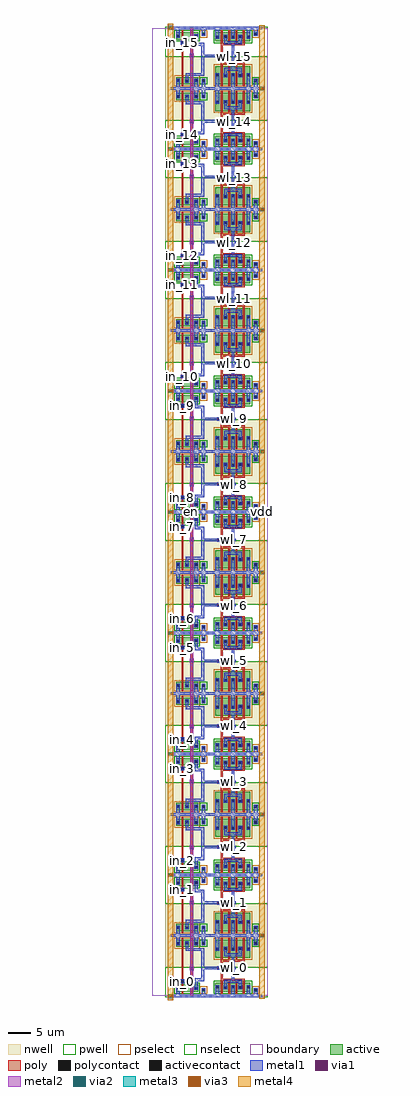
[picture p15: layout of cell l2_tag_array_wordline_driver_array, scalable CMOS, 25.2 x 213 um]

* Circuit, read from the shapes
.subckt l2_tag_array_wordline_driver_array en gnd in_0 in_1 in_10 in_11 in_12 in_13 in_14 in_15 in_2 in_3 in_4 in_5 in_6 in_7 in_8 in_9 vdd wl_0 wl_1 wl_10 wl_11 wl_12 wl_13 wl_14 wl_15 wl_2 wl_3 wl_4 wl_5 wl_6 wl_7 wl_8 wl_9
M1 l2_tag_array_wordline_driver_0/l2_tag_array_pnand2_0/l2_tag_array_nmos_m1_w1_600_sm1_dactive_2/D in_0 gnd gnd nfet w=1.6u l=0.4u
M2 l2_tag_array_wordline_driver_1/l2_tag_array_pnand2_0/l2_tag_array_nmos_m1_w1_600_sm1_dactive_2/D in_1 gnd gnd nfet w=1.6u l=0.4u
M3 l2_tag_array_wordline_driver_2/l2_tag_array_pnand2_0/l2_tag_array_nmos_m1_w1_600_sm1_dactive_2/D in_2 gnd gnd nfet w=1.6u l=0.4u
M4 l2_tag_array_wordline_driver_3/l2_tag_array_pnand2_0/l2_tag_array_nmos_m1_w1_600_sm1_dactive_2/D in_3 gnd gnd nfet w=1.6u l=0.4u
M5 l2_tag_array_wordline_driver_4/l2_tag_array_pnand2_0/l2_tag_array_nmos_m1_w1_600_sm1_dactive_2/D in_4 gnd gnd nfet w=1.6u l=0.4u
M6 l2_tag_array_wordline_driver_5/l2_tag_array_pnand2_0/l2_tag_array_nmos_m1_w1_600_sm1_dactive_2/D in_5 gnd gnd nfet w=1.6u l=0.4u
M7 l2_tag_array_wordline_driver_6/l2_tag_array_pnand2_0/l2_tag_array_nmos_m1_w1_600_sm1_dactive_2/D in_6 gnd gnd nfet w=1.6u l=0.4u
M8 l2_tag_array_wordline_driver_7/l2_tag_array_pnand2_0/l2_tag_array_nmos_m1_w1_600_sm1_dactive_2/D in_7 gnd gnd nfet w=1.6u l=0.4u
M9 l2_tag_array_wordline_driver_8/l2_tag_array_pnand2_0/l2_tag_array_nmos_m1_w1_600_sm1_dactive_2/D in_8 gnd gnd nfet w=1.6u l=0.4u
M10 l2_tag_array_wordline_driver_9/l2_tag_array_pnand2_0/l2_tag_array_nmos_m1_w1_600_sm1_dactive_2/D in_9 gnd gnd nfet w=1.6u l=0.4u
M11 l2_tag_array_wordline_driver_10/l2_tag_array_pnand2_0/l2_tag_array_nmos_m1_w1_600_sm1_dactive_2/D in_10 gnd gnd nfet w=1.6u l=0.4u
M12 l2_tag_array_wordline_driver_11/l2_tag_array_pnand2_0/l2_tag_array_nmos_m1_w1_600_sm1_dactive_2/D in_11 gnd gnd nfet w=1.6u l=0.4u
M13 l2_tag_array_wordline_driver_12/l2_tag_array_pnand2_0/l2_tag_array_nmos_m1_w1_600_sm1_dactive_2/D in_12 gnd gnd nfet w=1.6u l=0.4u
M14 l2_tag_array_wordline_driver_13/l2_tag_array_pnand2_0/l2_tag_array_nmos_m1_w1_600_sm1_dactive_2/D in_13 gnd gnd nfet w=1.6u l=0.4u
M15 l2_tag_array_wordline_driver_14/l2_tag_array_pnand2_0/l2_tag_array_nmos_m1_w1_600_sm1_dactive_2/D in_14 gnd gnd nfet w=1.6u l=0.4u
M16 l2_tag_array_wordline_driver_15/l2_tag_array_pnand2_0/l2_tag_array_nmos_m1_w1_600_sm1_dactive_2/D in_15 gnd gnd nfet w=1.6u l=0.4u
M17 l2_tag_array_wordline_driver_0/l2_tag_array_pinv_0_1/A en l2_tag_array_wordline_driver_0/l2_tag_array_pnand2_0/l2_tag_array_nmos_m1_w1_600_sm1_dactive_2/D gnd nfet w=1.6u l=0.4u
M18 l2_tag_array_wordline_driver_1/l2_tag_array_pinv_0_1/A en l2_tag_array_wordline_driver_1/l2_tag_array_pnand2_0/l2_tag_array_nmos_m1_w1_600_sm1_dactive_2/D gnd nfet w=1.6u l=0.4u
M19 l2_tag_array_wordline_driver_2/l2_tag_array_pinv_0_1/A en l2_tag_array_wordline_driver_2/l2_tag_array_pnand2_0/l2_tag_array_nmos_m1_w1_600_sm1_dactive_2/D gnd nfet w=1.6u l=0.4u
M20 l2_tag_array_wordline_driver_3/l2_tag_array_pinv_0_1/A en l2_tag_array_wordline_driver_3/l2_tag_array_pnand2_0/l2_tag_array_nmos_m1_w1_600_sm1_dactive_2/D gnd nfet w=1.6u l=0.4u
M21 l2_tag_array_wordline_driver_4/l2_tag_array_pinv_0_1/A en l2_tag_array_wordline_driver_4/l2_tag_array_pnand2_0/l2_tag_array_nmos_m1_w1_600_sm1_dactive_2/D gnd nfet w=1.6u l=0.4u
M22 l2_tag_array_wordline_driver_5/l2_tag_array_pinv_0_1/A en l2_tag_array_wordline_driver_5/l2_tag_array_pnand2_0/l2_tag_array_nmos_m1_w1_600_sm1_dactive_2/D gnd nfet w=1.6u l=0.4u
M23 l2_tag_array_wordline_driver_6/l2_tag_array_pinv_0_1/A en l2_tag_array_wordline_driver_6/l2_tag_array_pnand2_0/l2_tag_array_nmos_m1_w1_600_sm1_dactive_2/D gnd nfet w=1.6u l=0.4u
M24 l2_tag_array_wordline_driver_7/l2_tag_array_pinv_0_1/A en l2_tag_array_wordline_driver_7/l2_tag_array_pnand2_0/l2_tag_array_nmos_m1_w1_600_sm1_dactive_2/D gnd nfet w=1.6u l=0.4u
M25 l2_tag_array_wordline_driver_8/l2_tag_array_pinv_0_1/A en l2_tag_array_wordline_driver_8/l2_tag_array_pnand2_0/l2_tag_array_nmos_m1_w1_600_sm1_dactive_2/D gnd nfet w=1.6u l=0.4u
M26 l2_tag_array_wordline_driver_9/l2_tag_array_pinv_0_1/A en l2_tag_array_wordline_driver_9/l2_tag_array_pnand2_0/l2_tag_array_nmos_m1_w1_600_sm1_dactive_2/D gnd nfet w=1.6u l=0.4u
M27 l2_tag_array_wordline_driver_10/l2_tag_array_pinv_0_1/A en l2_tag_array_wordline_driver_10/l2_tag_array_pnand2_0/l2_tag_array_nmos_m1_w1_600_sm1_dactive_2/D gnd nfet w=1.6u l=0.4u
M28 l2_tag_array_wordline_driver_11/l2_tag_array_pinv_0_1/A en l2_tag_array_wordline_driver_11/l2_tag_array_pnand2_0/l2_tag_array_nmos_m1_w1_600_sm1_dactive_2/D gnd nfet w=1.6u l=0.4u
M29 l2_tag_array_wordline_driver_12/l2_tag_array_pinv_0_1/A en l2_tag_array_wordline_driver_12/l2_tag_array_pnand2_0/l2_tag_array_nmos_m1_w1_600_sm1_dactive_2/D gnd nfet w=1.6u l=0.4u
M30 l2_tag_array_wordline_driver_13/l2_tag_array_pinv_0_1/A en l2_tag_array_wordline_driver_13/l2_tag_array_pnand2_0/l2_tag_array_nmos_m1_w1_600_sm1_dactive_2/D gnd nfet w=1.6u l=0.4u
M31 l2_tag_array_wordline_driver_14/l2_tag_array_pinv_0_1/A en l2_tag_array_wordline_driver_14/l2_tag_array_pnand2_0/l2_tag_array_nmos_m1_w1_600_sm1_dactive_2/D gnd nfet w=1.6u l=0.4u
M32 l2_tag_array_wordline_driver_15/l2_tag_array_pinv_0_1/A en l2_tag_array_wordline_driver_15/l2_tag_array_pnand2_0/l2_tag_array_nmos_m1_w1_600_sm1_dactive_2/D gnd nfet w=1.6u l=0.4u
M33 wl_0 l2_tag_array_wordline_driver_0/l2_tag_array_pinv_0_1/A gnd gnd nfet w=2u l=0.4u m=4
M34 wl_1 l2_tag_array_wordline_driver_1/l2_tag_array_pinv_0_1/A gnd gnd nfet w=2u l=0.4u m=4
M35 wl_2 l2_tag_array_wordline_driver_2/l2_tag_array_pinv_0_1/A gnd gnd nfet w=2u l=0.4u m=4
M36 wl_3 l2_tag_array_wordline_driver_3/l2_tag_array_pinv_0_1/A gnd gnd nfet w=2u l=0.4u m=4
M37 wl_4 l2_tag_array_wordline_driver_4/l2_tag_array_pinv_0_1/A gnd gnd nfet w=2u l=0.4u m=4
M38 wl_5 l2_tag_array_wordline_driver_5/l2_tag_array_pinv_0_1/A gnd gnd nfet w=2u l=0.4u m=4
M39 wl_6 l2_tag_array_wordline_driver_6/l2_tag_array_pinv_0_1/A gnd gnd nfet w=2u l=0.4u m=4
M40 wl_7 l2_tag_array_wordline_driver_7/l2_tag_array_pinv_0_1/A gnd gnd nfet w=2u l=0.4u m=4
M41 wl_8 l2_tag_array_wordline_driver_8/l2_tag_array_pinv_0_1/A gnd gnd nfet w=2u l=0.4u m=4
M42 wl_9 l2_tag_array_wordline_driver_9/l2_tag_array_pinv_0_1/A gnd gnd nfet w=2u l=0.4u m=4
M43 wl_10 l2_tag_array_wordline_driver_10/l2_tag_array_pinv_0_1/A gnd gnd nfet w=2u l=0.4u m=4
M44 wl_11 l2_tag_array_wordline_driver_11/l2_tag_array_pinv_0_1/A gnd gnd nfet w=2u l=0.4u m=4
M45 wl_12 l2_tag_array_wordline_driver_12/l2_tag_array_pinv_0_1/A gnd gnd nfet w=2u l=0.4u m=4
M46 wl_13 l2_tag_array_wordline_driver_13/l2_tag_array_pinv_0_1/A gnd gnd nfet w=2u l=0.4u m=4
M47 wl_14 l2_tag_array_wordline_driver_14/l2_tag_array_pinv_0_1/A gnd gnd nfet w=2u l=0.4u m=4
M48 wl_15 l2_tag_array_wordline_driver_15/l2_tag_array_pinv_0_1/A gnd gnd nfet w=2u l=0.4u m=4
M49 l2_tag_array_wordline_driver_0/l2_tag_array_pinv_0_1/A in_0 vdd vdd pfet w=1.6u l=0.4u
M50 l2_tag_array_wordline_driver_1/l2_tag_array_pinv_0_1/A in_1 vdd vdd pfet w=1.6u l=0.4u
M51 l2_tag_array_wordline_driver_2/l2_tag_array_pinv_0_1/A in_2 vdd vdd pfet w=1.6u l=0.4u
M52 l2_tag_array_wordline_driver_3/l2_tag_array_pinv_0_1/A in_3 vdd vdd pfet w=1.6u l=0.4u
M53 l2_tag_array_wordline_driver_4/l2_tag_array_pinv_0_1/A in_4 vdd vdd pfet w=1.6u l=0.4u
M54 l2_tag_array_wordline_driver_5/l2_tag_array_pinv_0_1/A in_5 vdd vdd pfet w=1.6u l=0.4u
M55 l2_tag_array_wordline_driver_6/l2_tag_array_pinv_0_1/A in_6 vdd vdd pfet w=1.6u l=0.4u
M56 l2_tag_array_wordline_driver_7/l2_tag_array_pinv_0_1/A in_7 vdd vdd pfet w=1.6u l=0.4u
M57 l2_tag_array_wordline_driver_8/l2_tag_array_pinv_0_1/A in_8 vdd vdd pfet w=1.6u l=0.4u
M58 l2_tag_array_wordline_driver_9/l2_tag_array_pinv_0_1/A in_9 vdd vdd pfet w=1.6u l=0.4u
M59 l2_tag_array_wordline_driver_10/l2_tag_array_pinv_0_1/A in_10 vdd vdd pfet w=1.6u l=0.4u
M60 l2_tag_array_wordline_driver_11/l2_tag_array_pinv_0_1/A in_11 vdd vdd pfet w=1.6u l=0.4u
M61 l2_tag_array_wordline_driver_12/l2_tag_array_pinv_0_1/A in_12 vdd vdd pfet w=1.6u l=0.4u
M62 l2_tag_array_wordline_driver_13/l2_tag_array_pinv_0_1/A in_13 vdd vdd pfet w=1.6u l=0.4u
M63 l2_tag_array_wordline_driver_14/l2_tag_array_pinv_0_1/A in_14 vdd vdd pfet w=1.6u l=0.4u
M64 l2_tag_array_wordline_driver_15/l2_tag_array_pinv_0_1/A in_15 vdd vdd pfet w=1.6u l=0.4u
M65 vdd en l2_tag_array_wordline_driver_0/l2_tag_array_pinv_0_1/A vdd pfet w=1.6u l=0.4u
M66 vdd en l2_tag_array_wordline_driver_1/l2_tag_array_pinv_0_1/A vdd pfet w=1.6u l=0.4u
M67 vdd en l2_tag_array_wordline_driver_2/l2_tag_array_pinv_0_1/A vdd pfet w=1.6u l=0.4u
M68 vdd en l2_tag_array_wordline_driver_3/l2_tag_array_pinv_0_1/A vdd pfet w=1.6u l=0.4u
M69 vdd en l2_tag_array_wordline_driver_4/l2_tag_array_pinv_0_1/A vdd pfet w=1.6u l=0.4u
M70 vdd en l2_tag_array_wordline_driver_5/l2_tag_array_pinv_0_1/A vdd pfet w=1.6u l=0.4u
M71 vdd en l2_tag_array_wordline_driver_6/l2_tag_array_pinv_0_1/A vdd pfet w=1.6u l=0.4u
M72 vdd en l2_tag_array_wordline_driver_7/l2_tag_array_pinv_0_1/A vdd pfet w=1.6u l=0.4u
M73 vdd en l2_tag_array_wordline_driver_8/l2_tag_array_pinv_0_1/A vdd pfet w=1.6u l=0.4u
M74 vdd en l2_tag_array_wordline_driver_9/l2_tag_array_pinv_0_1/A vdd pfet w=1.6u l=0.4u
M75 vdd en l2_tag_array_wordline_driver_10/l2_tag_array_pinv_0_1/A vdd pfet w=1.6u l=0.4u
M76 vdd en l2_tag_array_wordline_driver_11/l2_tag_array_pinv_0_1/A vdd pfet w=1.6u l=0.4u
M77 vdd en l2_tag_array_wordline_driver_12/l2_tag_array_pinv_0_1/A vdd pfet w=1.6u l=0.4u
M78 vdd en l2_tag_array_wordline_driver_13/l2_tag_array_pinv_0_1/A vdd pfet w=1.6u l=0.4u
M79 vdd en l2_tag_array_wordline_driver_14/l2_tag_array_pinv_0_1/A vdd pfet w=1.6u l=0.4u
M80 vdd en l2_tag_array_wordline_driver_15/l2_tag_array_pinv_0_1/A vdd pfet w=1.6u l=0.4u
M81 wl_0 l2_tag_array_wordline_driver_0/l2_tag_array_pinv_0_1/A vdd vdd pfet w=4u l=0.4u m=4
M82 wl_1 l2_tag_array_wordline_driver_1/l2_tag_array_pinv_0_1/A vdd vdd pfet w=4u l=0.4u m=4
M83 wl_2 l2_tag_array_wordline_driver_2/l2_tag_array_pinv_0_1/A vdd vdd pfet w=4u l=0.4u m=4
M84 wl_3 l2_tag_array_wordline_driver_3/l2_tag_array_pinv_0_1/A vdd vdd pfet w=4u l=0.4u m=4
M85 wl_4 l2_tag_array_wordline_driver_4/l2_tag_array_pinv_0_1/A vdd vdd pfet w=4u l=0.4u m=4
M86 wl_5 l2_tag_array_wordline_driver_5/l2_tag_array_pinv_0_1/A vdd vdd pfet w=4u l=0.4u m=4
M87 wl_6 l2_tag_array_wordline_driver_6/l2_tag_array_pinv_0_1/A vdd vdd pfet w=4u l=0.4u m=4
M88 wl_7 l2_tag_array_wordline_driver_7/l2_tag_array_pinv_0_1/A vdd vdd pfet w=4u l=0.4u m=4
M89 wl_8 l2_tag_array_wordline_driver_8/l2_tag_array_pinv_0_1/A vdd vdd pfet w=4u l=0.4u m=4
M90 wl_9 l2_tag_array_wordline_driver_9/l2_tag_array_pinv_0_1/A vdd vdd pfet w=4u l=0.4u m=4
M91 wl_10 l2_tag_array_wordline_driver_10/l2_tag_array_pinv_0_1/A vdd vdd pfet w=4u l=0.4u m=4
M92 wl_11 l2_tag_array_wordline_driver_11/l2_tag_array_pinv_0_1/A vdd vdd pfet w=4u l=0.4u m=4
M93 wl_12 l2_tag_array_wordline_driver_12/l2_tag_array_pinv_0_1/A vdd vdd pfet w=4u l=0.4u m=4
M94 wl_13 l2_tag_array_wordline_driver_13/l2_tag_array_pinv_0_1/A vdd vdd pfet w=4u l=0.4u m=4
M95 wl_14 l2_tag_array_wordline_driver_14/l2_tag_array_pinv_0_1/A vdd vdd pfet w=4u l=0.4u m=4
M96 wl_15 l2_tag_array_wordline_driver_15/l2_tag_array_pinv_0_1/A vdd vdd pfet w=4u l=0.4u m=4
.ends

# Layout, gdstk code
import gdstk
lib = gdstk.Library(unit=1e-6, precision=1e-09)
def R(c, l, rs):  # rectangles x0, y0, x1, y1
    for r in rs: c.add(gdstk.rectangle(r[:2], r[2:], *l))
def A(c, l, x, y, w, h, nx, ny, dx, dy):  # array of equal rectangles
    R(c, l, [(x+i*dx, y+j*dy, x+i*dx+w, y+j*dy+h) for i in range(nx) for j in range(ny)])
via3 = (30, 0)
metal4 = (31, 0)
pwell = (41, 0)
nwell = (42, 0)
active = (43, 0)
pselect = (44, 0)
nselect = (45, 0)
poly = (46, 0)
polycontact = (47, 0)
activecontact = (48, 0)
metal1 = (49, 0)
via1 = (50, 0)
metal2 = (51, 0)
via2 = (61, 0)
metal3 = (62, 0)
boundary = (63, 0)

l2_tag_array_contact_11 = lib.new_cell('l2_tag_array_contact_11')
R(l2_tag_array_contact_11, nwell, [(-1.2,-1.2,2,2)])
R(l2_tag_array_contact_11, active, [(0,0,0.8,0.8)])
R(l2_tag_array_contact_11, pselect, [(-0.4,-0.4,1.2,1.2)])
R(l2_tag_array_contact_11, activecontact, [(0.2,0.2,0.6,0.6)])
R(l2_tag_array_contact_11, metal1, [(0,0,0.8,0.8)])
R(l2_tag_array_contact_11, boundary, [(-1.2,-1.2,2,2)])

l2_tag_array_pmos_m1_w1_ = lib.new_cell('l2_tag_array_pmos_m1_w1_600_sm1_dm1')
R(l2_tag_array_pmos_m1_w1_, nwell, [(-1.2,-1.2,4,2.8)])
R(l2_tag_array_pmos_m1_w1_, active, [(0,0,2.8,1.6)])
R(l2_tag_array_pmos_m1_w1_, pselect, [(-0.4,-0.4,3.2,2)])
R(l2_tag_array_pmos_m1_w1_, poly, [(1.2,-0.4,1.6,2), (1.2,-0.4,1.6,2)])
R(l2_tag_array_pmos_m1_w1_, metal1, [(0,0.4,0.8,1.2), (2,0.4,2.8,1.2)])
R(l2_tag_array_pmos_m1_w1_, boundary, [(-1.2,-1.2,4,2.8)])
l2_tag_array_pmos_m1_w1_.add(gdstk.Reference(l2_tag_array_contact_11, (0,0.4)))
l2_tag_array_pmos_m1_w1_.add(gdstk.Reference(l2_tag_array_contact_11, (2,0.4)))
l2_tag_array_pmos_m1_w1_.add(gdstk.Label('G', (1.4,0.8), layer=46, texttype=0))
l2_tag_array_pmos_m1_w1_.add(gdstk.Label('S', (0.4,0.8), layer=49, texttype=0))
l2_tag_array_pmos_m1_w1_.add(gdstk.Label('D', (2.4,0.8), layer=49, texttype=0))

l2_tag_array_contact_10 = lib.new_cell('l2_tag_array_contact_10')
R(l2_tag_array_contact_10, pwell, [(-1.2,-1.2,2,2)])
R(l2_tag_array_contact_10, active, [(0,0,0.8,0.8)])
R(l2_tag_array_contact_10, nselect, [(-0.4,-0.4,1.2,1.2)])
R(l2_tag_array_contact_10, activecontact, [(0.2,0.2,0.6,0.6)])
R(l2_tag_array_contact_10, metal1, [(0,0,0.8,0.8)])
R(l2_tag_array_contact_10, boundary, [(-1.2,-1.2,2,2)])

l2_tag_array_nmos_m1_w1_ = lib.new_cell('l2_tag_array_nmos_m1_w1_600_sm1_dactive')
R(l2_tag_array_nmos_m1_w1_, pwell, [(-1.2,-1.2,4,2.8)])
R(l2_tag_array_nmos_m1_w1_, active, [(0,0,2.8,1.6), (2.1,0.5,2.7,1.1)])
R(l2_tag_array_nmos_m1_w1_, nselect, [(-0.4,-0.4,3.2,2)])
R(l2_tag_array_nmos_m1_w1_, poly, [(1.2,-0.4,1.6,2), (1.2,-0.4,1.6,2)])
R(l2_tag_array_nmos_m1_w1_, metal1, [(0,0.4,0.8,1.2)])
R(l2_tag_array_nmos_m1_w1_, boundary, [(-1.2,-1.2,4,2.8)])
l2_tag_array_nmos_m1_w1_.add(gdstk.Reference(l2_tag_array_contact_10, (0,0.4)))
l2_tag_array_nmos_m1_w1_.add(gdstk.Label('G', (1.4,0.8), layer=46, texttype=0))
l2_tag_array_nmos_m1_w1_.add(gdstk.Label('S', (0.4,0.8), layer=49, texttype=0))
l2_tag_array_nmos_m1_w1_.add(gdstk.Label('D', (2.4,0.8), layer=43, texttype=0))

c_l2_tag_array_nmos_m1_w1_ = lib.new_cell('l2_tag_array_nmos_m1_w1_600_sactive_dm1')
R(c_l2_tag_array_nmos_m1_w1_, pwell, [(-1.2,-1.2,4,2.8)])
R(c_l2_tag_array_nmos_m1_w1_, active, [(0,0,2.8,1.6), (0.1,0.5,0.7,1.1)])
R(c_l2_tag_array_nmos_m1_w1_, nselect, [(-0.4,-0.4,3.2,2)])
R(c_l2_tag_array_nmos_m1_w1_, poly, [(1.2,-0.4,1.6,2), (1.2,-0.4,1.6,2)])
R(c_l2_tag_array_nmos_m1_w1_, metal1, [(2,0.4,2.8,1.2)])
R(c_l2_tag_array_nmos_m1_w1_, boundary, [(-1.2,-1.2,4,2.8)])
c_l2_tag_array_nmos_m1_w1_.add(gdstk.Reference(l2_tag_array_contact_10, (2,0.4)))
c_l2_tag_array_nmos_m1_w1_.add(gdstk.Label('G', (1.4,0.8), layer=46, texttype=0))
c_l2_tag_array_nmos_m1_w1_.add(gdstk.Label('S', (0.4,0.8), layer=43, texttype=0))
c_l2_tag_array_nmos_m1_w1_.add(gdstk.Label('D', (2.4,0.8), layer=49, texttype=0))

l2_tag_array_contact_12 = lib.new_cell('l2_tag_array_contact_12')
R(l2_tag_array_contact_12, nwell, [(-1.2,-1.2,2,2)])
R(l2_tag_array_contact_12, active, [(0,0,0.8,0.8)])
R(l2_tag_array_contact_12, nselect, [(-0.4,-0.4,1.2,1.2)])
R(l2_tag_array_contact_12, activecontact, [(0.2,0.2,0.6,0.6)])
R(l2_tag_array_contact_12, metal1, [(0,0,0.8,0.8)])
R(l2_tag_array_contact_12, boundary, [(-1.2,-1.2,2,2)])

l2_tag_array_contact_13 = lib.new_cell('l2_tag_array_contact_13')
R(l2_tag_array_contact_13, pwell, [(-1.2,-1.2,2,2)])
R(l2_tag_array_contact_13, active, [(0,0,0.8,0.8)])
R(l2_tag_array_contact_13, pselect, [(-0.4,-0.4,1.2,1.2)])
R(l2_tag_array_contact_13, activecontact, [(0.2,0.2,0.6,0.6)])
R(l2_tag_array_contact_13, metal1, [(0,0,0.8,0.8)])
R(l2_tag_array_contact_13, boundary, [(-1.2,-1.2,2,2)])

l2_tag_array_contact_14 = lib.new_cell('l2_tag_array_contact_14')
R(l2_tag_array_contact_14, poly, [(0,0,0.8,0.8)])
R(l2_tag_array_contact_14, polycontact, [(0.2,0.2,0.6,0.6)])
R(l2_tag_array_contact_14, metal1, [(0,0,0.8,0.8)])
R(l2_tag_array_contact_14, boundary, [(0,0,0.8,0.8)])

l2_tag_array_pnand2 = lib.new_cell('l2_tag_array_pnand2')
R(l2_tag_array_pnand2, pwell, [(-1.2,-0.3,9.8,6.3)])
R(l2_tag_array_pnand2, nwell, [(-1.2,6.3,9.8,14.7)])
R(l2_tag_array_pnand2, poly, [(2.4,2.8,2.6,3.6), (2.4,2.9,2.8,10.3), (4.4,2.9,4.8,10.3), (4.4,5.6,4.6,6.4)])
R(l2_tag_array_pnand2, metal1, [(0,-0.3,8.6,0.3), (1.2,-0.3,2,1.3), (6.8,0,7.6,1.3), (5.3,2.1,5.9,3.5), (2.2,2.8,3,3.6), (5.3,3.2,5.9,3.8), (5.6,3.2,7,3.8), (6.7,3.2,7.3,3.8), (6.7,3.5,7.3,10.1), (4.2,5.6,5,6.4), (3.3,9.8,3.9,10.4), (3.6,9.8,7,10.4), (6.7,9.8,7.3,10.4), (3.3,10.1,3.9,11.1), (1.2,11.1,2,13.5), (5.2,11.1,6,13.5), (6.8,11.5,7.6,13.2), (0,12.9,8.6,13.5)])
R(l2_tag_array_pnand2, boundary, [(0,0,8.6,13.2), (0,0,8.6,13.2)])
l2_tag_array_pnand2.add(gdstk.Reference(l2_tag_array_pmos_m1_w1_, (1.2,10.7)))
l2_tag_array_pnand2.add(gdstk.Reference(l2_tag_array_pmos_m1_w1_, (3.2,10.7)))
l2_tag_array_pnand2.add(gdstk.Reference(l2_tag_array_nmos_m1_w1_, (1.2,0.9)))
l2_tag_array_pnand2.add(gdstk.Reference(c_l2_tag_array_nmos_m1_w1_, (3.2,0.9)))
l2_tag_array_pnand2.add(gdstk.Reference(l2_tag_array_contact_12, (6.8,11.1)))
l2_tag_array_pnand2.add(gdstk.Reference(l2_tag_array_contact_13, (6.8,0.9)))
l2_tag_array_pnand2.add(gdstk.Reference(l2_tag_array_contact_14, (2.2,2.8)))
l2_tag_array_pnand2.add(gdstk.Reference(l2_tag_array_contact_14, (4.2,5.6)))
l2_tag_array_pnand2.add(gdstk.Label('Z', (7,10.1), layer=49, texttype=0))
l2_tag_array_pnand2.add(gdstk.Label('gnd', (4.3,0), layer=49, texttype=0))
l2_tag_array_pnand2.add(gdstk.Label('vdd', (4.3,13.2), layer=49, texttype=0))
l2_tag_array_pnand2.add(gdstk.Label('A', (2.6,3.2), layer=49, texttype=0))
l2_tag_array_pnand2.add(gdstk.Label('B', (4.6,6), layer=49, texttype=0))

l2_tag_array_pmos_m4_w4_ = lib.new_cell('l2_tag_array_pmos_m4_w4_000_sm1_dm1_da_p')
R(l2_tag_array_pmos_m4_w4_, nwell, [(-1.2,-1.2,8.8,5.2)])
R(l2_tag_array_pmos_m4_w4_, active, [(0,0,7.6,4)])
R(l2_tag_array_pmos_m4_w4_, pselect, [(-0.4,-0.4,8,4.4)])
A(l2_tag_array_pmos_m4_w4_, poly, 1.2, -0.4, 0.4, 4.8, 4, 1, 1.6, 0)
R(l2_tag_array_pmos_m4_w4_, poly, [(1.2,-0.8,6.4,-0.4)])
A(l2_tag_array_pmos_m4_w4_, metal1, 0, 1.6, 0.8, 0.8, 3, 1, 3.4, 0)
R(l2_tag_array_pmos_m4_w4_, metal1, [(1.9,0.4,5.7,1), (1.9,0.7,2.5,2), (5.1,0.7,5.7,2)])
R(l2_tag_array_pmos_m4_w4_, boundary, [(-1.2,-1.2,8.8,5.2)])
l2_tag_array_pmos_m4_w4_.add(gdstk.Reference(l2_tag_array_contact_11, (0,1.6)))
l2_tag_array_pmos_m4_w4_.add(gdstk.Reference(l2_tag_array_contact_11, (1.8,1.6)))
l2_tag_array_pmos_m4_w4_.add(gdstk.Reference(l2_tag_array_contact_11, (3.4,1.6)))
l2_tag_array_pmos_m4_w4_.add(gdstk.Reference(l2_tag_array_contact_11, (5,1.6)))
l2_tag_array_pmos_m4_w4_.add(gdstk.Reference(l2_tag_array_contact_11, (6.8,1.6)))
l2_tag_array_pmos_m4_w4_.add(gdstk.Label('G', (3.8,-0.6), layer=46, texttype=0))
l2_tag_array_pmos_m4_w4_.add(gdstk.Label('S', (0.4,2), layer=49, texttype=0))
l2_tag_array_pmos_m4_w4_.add(gdstk.Label('S', (7.2,2), layer=49, texttype=0))
l2_tag_array_pmos_m4_w4_.add(gdstk.Label('S', (3.8,2), layer=49, texttype=0))
l2_tag_array_pmos_m4_w4_.add(gdstk.Label('D', (3.8,0.7), layer=49, texttype=0))

l2_tag_array_nmos_m4_w2_ = lib.new_cell('l2_tag_array_nmos_m4_w2_000_sm1_dm1_da_p')
R(l2_tag_array_nmos_m4_w2_, pwell, [(-1.2,-1.2,8.8,3.2)])
R(l2_tag_array_nmos_m4_w2_, active, [(0,0,7.6,2)])
R(l2_tag_array_nmos_m4_w2_, nselect, [(-0.4,-0.4,8,2.4)])
A(l2_tag_array_nmos_m4_w2_, poly, 1.2, -0.4, 0.4, 2.8, 4, 1, 1.6, 0)
R(l2_tag_array_nmos_m4_w2_, poly, [(1.2,2.4,6.4,2.8)])
A(l2_tag_array_nmos_m4_w2_, metal1, 0, 0.6, 0.8, 0.8, 3, 1, 3.4, 0)
R(l2_tag_array_nmos_m4_w2_, metal1, [(1.9,1,2.5,2.3), (5.1,1,5.7,2.3), (1.9,2,5.7,2.6)])
R(l2_tag_array_nmos_m4_w2_, boundary, [(-1.2,-1.2,8.8,3.2)])
l2_tag_array_nmos_m4_w2_.add(gdstk.Reference(l2_tag_array_contact_10, (0,0.6)))
l2_tag_array_nmos_m4_w2_.add(gdstk.Reference(l2_tag_array_contact_10, (1.8,0.6)))
l2_tag_array_nmos_m4_w2_.add(gdstk.Reference(l2_tag_array_contact_10, (3.4,0.6)))
l2_tag_array_nmos_m4_w2_.add(gdstk.Reference(l2_tag_array_contact_10, (5,0.6)))
l2_tag_array_nmos_m4_w2_.add(gdstk.Reference(l2_tag_array_contact_10, (6.8,0.6)))
l2_tag_array_nmos_m4_w2_.add(gdstk.Label('G', (3.8,2.6), layer=46, texttype=0))
l2_tag_array_nmos_m4_w2_.add(gdstk.Label('S', (3.8,1), layer=49, texttype=0))
l2_tag_array_nmos_m4_w2_.add(gdstk.Label('S', (0.4,1), layer=49, texttype=0))
l2_tag_array_nmos_m4_w2_.add(gdstk.Label('S', (7.2,1), layer=49, texttype=0))
l2_tag_array_nmos_m4_w2_.add(gdstk.Label('D', (3.8,2.3), layer=49, texttype=0))

l2_tag_array_pinv_0 = lib.new_cell('l2_tag_array_pinv_0')
R(l2_tag_array_pinv_0, pwell, [(-1.2,-0.3,12.6,6.3)])
R(l2_tag_array_pinv_0, nwell, [(-1.2,6.3,12.6,14.7)])
R(l2_tag_array_pinv_0, poly, [(2.4,3.7,2.8,7.5), (2,5.7,2.4,6.5)])
A(l2_tag_array_pinv_0, metal1, 1.2, -0.3, 0.8, 1.8, 3, 1, 3.4, 0)
A(l2_tag_array_pinv_0, metal1, 1.2, 9.9, 0.8, 3.6, 3, 1, 3.4, 0)
R(l2_tag_array_pinv_0, metal1, [(0,-0.3,11.4,0.3), (9.6,0,10.4,1.3), (4.7,2.9,5.3,9.3), (1.6,5.7,2.4,6.5), (5,5.8,5.6,6.4), (9.6,11.5,10.4,13.2), (0,12.9,11.4,13.5)])
R(l2_tag_array_pinv_0, boundary, [(0,0,11.4,13.2), (0,0,11.4,13.2)])
l2_tag_array_pinv_0.add(gdstk.Reference(l2_tag_array_pmos_m4_w4_, (1.2,8.3)))
l2_tag_array_pinv_0.add(gdstk.Reference(l2_tag_array_nmos_m4_w2_, (1.2,0.9)))
l2_tag_array_pinv_0.add(gdstk.Reference(l2_tag_array_contact_12, (9.6,11.1)))
l2_tag_array_pinv_0.add(gdstk.Reference(l2_tag_array_contact_13, (9.6,0.9)))
l2_tag_array_pinv_0.add(gdstk.Reference(l2_tag_array_contact_14, (1.6,5.7)))
l2_tag_array_pinv_0.add(gdstk.Label('A', (2,6.1), layer=49, texttype=0))
l2_tag_array_pinv_0.add(gdstk.Label('Z', (5.3,6.1), layer=49, texttype=0))
l2_tag_array_pinv_0.add(gdstk.Label('gnd', (5.7,0), layer=49, texttype=0))
l2_tag_array_pinv_0.add(gdstk.Label('vdd', (5.7,13.2), layer=49, texttype=0))

l2_tag_array_wordline_dr = lib.new_cell('l2_tag_array_wordline_driver')
R(l2_tag_array_wordline_dr, metal1, [(0,-0.3,20,0.3), (2.2,2.8,3,3.6), (4.2,5.6,5,6.4), (6.7,5.8,7.3,6.4), (7,5.8,10.6,6.4), (13.6,5.8,14.2,6.4), (6.7,6.1,7.3,10.1), (0,12.9,20,13.5)])
R(l2_tag_array_wordline_dr, boundary, [(0,0,20,13.2)])
l2_tag_array_wordline_dr.add(gdstk.Reference(l2_tag_array_pnand2, (0,0)))
l2_tag_array_wordline_dr.add(gdstk.Reference(l2_tag_array_pinv_0, (8.6,0)))
l2_tag_array_wordline_dr.add(gdstk.Label('Z', (13.9,6.1), layer=49, texttype=0))
l2_tag_array_wordline_dr.add(gdstk.Label('A', (2.6,3.2), layer=49, texttype=0))
l2_tag_array_wordline_dr.add(gdstk.Label('B', (4.6,6), layer=49, texttype=0))
l2_tag_array_wordline_dr.add(gdstk.Label('gnd', (10,0), layer=49, texttype=0))
l2_tag_array_wordline_dr.add(gdstk.Label('vdd', (10,13.2), layer=49, texttype=0))

l2_tag_array_contact_17 = lib.new_cell('l2_tag_array_contact_17')
R(l2_tag_array_contact_17, metal1, [(0,0,0.8,0.8)])
R(l2_tag_array_contact_17, via1, [(0.2,0.2,0.6,0.6)])
R(l2_tag_array_contact_17, metal2, [(0,0,0.8,0.8)])
R(l2_tag_array_contact_17, boundary, [(0,0,0.8,0.8)])

l2_tag_array_contact_18 = lib.new_cell('l2_tag_array_contact_18')
R(l2_tag_array_contact_18, metal2, [(0,0,0.8,0.8)])
R(l2_tag_array_contact_18, via2, [(0.2,0.2,0.6,0.6)])
R(l2_tag_array_contact_18, metal3, [(0,0,0.8,0.8)])
R(l2_tag_array_contact_18, boundary, [(0,0,0.8,0.8)])

l2_tag_array_contact_21 = lib.new_cell('l2_tag_array_contact_21')
R(l2_tag_array_contact_21, via3, [(0.4,0.4,0.8,0.8)])
R(l2_tag_array_contact_21, metal4, [(0,0,1.2,1.2)])
R(l2_tag_array_contact_21, metal3, [(0.2,0.2,1,1)])
R(l2_tag_array_contact_21, boundary, [(0,0,1.2,1.2)])

c_l2_tag_array_wordline_dr = lib.new_cell('l2_tag_array_wordline_driver_array')
R(c_l2_tag_array_wordline_dr, metal4, [(3.4,-0.9,4.6,212.1), (23.4,-0.6,24.6,211.8)])
R(c_l2_tag_array_wordline_dr, metal1, [(6.2,2.8,7,3.6), (17.6,5.8,18.2,6.4), (17.6,20,18.2,20.6), (6.2,22.8,7,23.6), (6.2,29.2,7,30), (17.6,32.2,18.2,32.8), (17.6,46.4,18.2,47), (6.2,49.2,7,50), (6.2,55.6,7,56.4), (17.6,58.6,18.2,59.2), (17.6,72.8,18.2,73.4), (6.2,75.6,7,76.4), (6.2,82,7,82.8), (17.6,85,18.2,85.6), (17.6,99.2,18.2,99.8), (6.2,102,7,102.8), (6.2,108.4,7,109.2), (17.6,111.4,18.2,112), (17.6,125.6,18.2,126.2), (6.2,128.4,7,129.2), (6.2,134.8,7,135.6), (17.6,137.8,18.2,138.4), (17.6,152,18.2,152.6), (6.2,154.8,7,155.6), (6.2,161.2,7,162), (17.6,164.2,18.2,164.8), (17.6,178.4,18.2,179), (6.2,181.2,7,182), (6.2,187.6,7,188.4), (17.6,190.6,18.2,191.2), (17.6,204.8,18.2,205.4), (6.2,207.6,7,208.4)])
R(c_l2_tag_array_wordline_dr, metal2, [(8.3,0,8.9,211.2)])
R(c_l2_tag_array_wordline_dr, boundary, [(0,0,25.2,211.2)])
c_l2_tag_array_wordline_dr.add(gdstk.Reference(l2_tag_array_wordline_dr, (4,0)))
c_l2_tag_array_wordline_dr.add(gdstk.Reference(l2_tag_array_wordline_dr, (4,26.4), x_reflection=True))
c_l2_tag_array_wordline_dr.add(gdstk.Reference(l2_tag_array_wordline_dr, (4,26.4)))
c_l2_tag_array_wordline_dr.add(gdstk.Reference(l2_tag_array_wordline_dr, (4,52.8), x_reflection=True))
c_l2_tag_array_wordline_dr.add(gdstk.Reference(l2_tag_array_wordline_dr, (4,52.8)))
c_l2_tag_array_wordline_dr.add(gdstk.Reference(l2_tag_array_wordline_dr, (4,79.2), x_reflection=True))
c_l2_tag_array_wordline_dr.add(gdstk.Reference(l2_tag_array_wordline_dr, (4,79.2)))
c_l2_tag_array_wordline_dr.add(gdstk.Reference(l2_tag_array_wordline_dr, (4,105.6), x_reflection=True))
c_l2_tag_array_wordline_dr.add(gdstk.Reference(l2_tag_array_wordline_dr, (4,105.6)))
c_l2_tag_array_wordline_dr.add(gdstk.Reference(l2_tag_array_wordline_dr, (4,132), x_reflection=True))
c_l2_tag_array_wordline_dr.add(gdstk.Reference(l2_tag_array_wordline_dr, (4,132)))
c_l2_tag_array_wordline_dr.add(gdstk.Reference(l2_tag_array_wordline_dr, (4,158.4), x_reflection=True))
c_l2_tag_array_wordline_dr.add(gdstk.Reference(l2_tag_array_wordline_dr, (4,158.4)))
c_l2_tag_array_wordline_dr.add(gdstk.Reference(l2_tag_array_wordline_dr, (4,184.8), x_reflection=True))
c_l2_tag_array_wordline_dr.add(gdstk.Reference(l2_tag_array_wordline_dr, (4,184.8)))
c_l2_tag_array_wordline_dr.add(gdstk.Reference(l2_tag_array_wordline_dr, (4,211.2), x_reflection=True))
c_l2_tag_array_wordline_dr.add(gdstk.Reference(l2_tag_array_contact_17, (8.2,5.6)))
c_l2_tag_array_wordline_dr.add(gdstk.Reference(l2_tag_array_contact_17, (8.2,20)))
c_l2_tag_array_wordline_dr.add(gdstk.Reference(l2_tag_array_contact_17, (8.2,32)))
c_l2_tag_array_wordline_dr.add(gdstk.Reference(l2_tag_array_contact_17, (8.2,46.4)))
c_l2_tag_array_wordline_dr.add(gdstk.Reference(l2_tag_array_contact_17, (8.2,58.4)))
c_l2_tag_array_wordline_dr.add(gdstk.Reference(l2_tag_array_contact_17, (8.2,72.8)))
c_l2_tag_array_wordline_dr.add(gdstk.Reference(l2_tag_array_contact_17, (8.2,84.8)))
c_l2_tag_array_wordline_dr.add(gdstk.Reference(l2_tag_array_contact_17, (8.2,99.2)))
c_l2_tag_array_wordline_dr.add(gdstk.Reference(l2_tag_array_contact_17, (8.2,111.2)))
c_l2_tag_array_wordline_dr.add(gdstk.Reference(l2_tag_array_contact_17, (8.2,125.6)))
c_l2_tag_array_wordline_dr.add(gdstk.Reference(l2_tag_array_contact_17, (8.2,137.6)))
c_l2_tag_array_wordline_dr.add(gdstk.Reference(l2_tag_array_contact_17, (8.2,152)))
c_l2_tag_array_wordline_dr.add(gdstk.Reference(l2_tag_array_contact_17, (8.2,164)))
c_l2_tag_array_wordline_dr.add(gdstk.Reference(l2_tag_array_contact_17, (8.2,178.4)))
c_l2_tag_array_wordline_dr.add(gdstk.Reference(l2_tag_array_contact_17, (8.2,190.4)))
c_l2_tag_array_wordline_dr.add(gdstk.Reference(l2_tag_array_contact_17, (8.2,204.8)))
c_l2_tag_array_wordline_dr.add(gdstk.Reference(l2_tag_array_contact_17, (23.6,12.8)))
c_l2_tag_array_wordline_dr.add(gdstk.Reference(l2_tag_array_contact_18, (23.6,12.8)))
c_l2_tag_array_wordline_dr.add(gdstk.Reference(l2_tag_array_contact_21, (23.4,12.6)))
c_l2_tag_array_wordline_dr.add(gdstk.Reference(l2_tag_array_contact_17, (23.6,12.8)))
c_l2_tag_array_wordline_dr.add(gdstk.Reference(l2_tag_array_contact_18, (23.6,12.8)))
c_l2_tag_array_wordline_dr.add(gdstk.Reference(l2_tag_array_contact_21, (23.4,12.6)))
c_l2_tag_array_wordline_dr.add(gdstk.Reference(l2_tag_array_contact_17, (23.6,39.2)))
c_l2_tag_array_wordline_dr.add(gdstk.Reference(l2_tag_array_contact_18, (23.6,39.2)))
c_l2_tag_array_wordline_dr.add(gdstk.Reference(l2_tag_array_contact_21, (23.4,39)))
c_l2_tag_array_wordline_dr.add(gdstk.Reference(l2_tag_array_contact_17, (23.6,39.2)))
c_l2_tag_array_wordline_dr.add(gdstk.Reference(l2_tag_array_contact_18, (23.6,39.2)))
c_l2_tag_array_wordline_dr.add(gdstk.Reference(l2_tag_array_contact_21, (23.4,39)))
c_l2_tag_array_wordline_dr.add(gdstk.Reference(l2_tag_array_contact_17, (23.6,65.6)))
c_l2_tag_array_wordline_dr.add(gdstk.Reference(l2_tag_array_contact_18, (23.6,65.6)))
c_l2_tag_array_wordline_dr.add(gdstk.Reference(l2_tag_array_contact_21, (23.4,65.4)))
c_l2_tag_array_wordline_dr.add(gdstk.Reference(l2_tag_array_contact_17, (23.6,65.6)))
c_l2_tag_array_wordline_dr.add(gdstk.Reference(l2_tag_array_contact_18, (23.6,65.6)))
c_l2_tag_array_wordline_dr.add(gdstk.Reference(l2_tag_array_contact_21, (23.4,65.4)))
c_l2_tag_array_wordline_dr.add(gdstk.Reference(l2_tag_array_contact_17, (23.6,92)))
c_l2_tag_array_wordline_dr.add(gdstk.Reference(l2_tag_array_contact_18, (23.6,92)))
c_l2_tag_array_wordline_dr.add(gdstk.Reference(l2_tag_array_contact_21, (23.4,91.8)))
c_l2_tag_array_wordline_dr.add(gdstk.Reference(l2_tag_array_contact_17, (23.6,92)))
c_l2_tag_array_wordline_dr.add(gdstk.Reference(l2_tag_array_contact_18, (23.6,92)))
c_l2_tag_array_wordline_dr.add(gdstk.Reference(l2_tag_array_contact_21, (23.4,91.8)))
c_l2_tag_array_wordline_dr.add(gdstk.Reference(l2_tag_array_contact_17, (23.6,118.4)))
c_l2_tag_array_wordline_dr.add(gdstk.Reference(l2_tag_array_contact_18, (23.6,118.4)))
c_l2_tag_array_wordline_dr.add(gdstk.Reference(l2_tag_array_contact_21, (23.4,118.2)))
c_l2_tag_array_wordline_dr.add(gdstk.Reference(l2_tag_array_contact_17, (23.6,118.4)))
c_l2_tag_array_wordline_dr.add(gdstk.Reference(l2_tag_array_contact_18, (23.6,118.4)))
c_l2_tag_array_wordline_dr.add(gdstk.Reference(l2_tag_array_contact_21, (23.4,118.2)))
c_l2_tag_array_wordline_dr.add(gdstk.Reference(l2_tag_array_contact_17, (23.6,144.8)))
c_l2_tag_array_wordline_dr.add(gdstk.Reference(l2_tag_array_contact_18, (23.6,144.8)))
c_l2_tag_array_wordline_dr.add(gdstk.Reference(l2_tag_array_contact_21, (23.4,144.6)))
c_l2_tag_array_wordline_dr.add(gdstk.Reference(l2_tag_array_contact_17, (23.6,144.8)))
c_l2_tag_array_wordline_dr.add(gdstk.Reference(l2_tag_array_contact_18, (23.6,144.8)))
c_l2_tag_array_wordline_dr.add(gdstk.Reference(l2_tag_array_contact_21, (23.4,144.6)))
c_l2_tag_array_wordline_dr.add(gdstk.Reference(l2_tag_array_contact_17, (23.6,171.2)))
c_l2_tag_array_wordline_dr.add(gdstk.Reference(l2_tag_array_contact_18, (23.6,171.2)))
c_l2_tag_array_wordline_dr.add(gdstk.Reference(l2_tag_array_contact_21, (23.4,171)))
c_l2_tag_array_wordline_dr.add(gdstk.Reference(l2_tag_array_contact_17, (23.6,171.2)))
c_l2_tag_array_wordline_dr.add(gdstk.Reference(l2_tag_array_contact_18, (23.6,171.2)))
c_l2_tag_array_wordline_dr.add(gdstk.Reference(l2_tag_array_contact_21, (23.4,171)))
c_l2_tag_array_wordline_dr.add(gdstk.Reference(l2_tag_array_contact_17, (23.6,197.6)))
c_l2_tag_array_wordline_dr.add(gdstk.Reference(l2_tag_array_contact_18, (23.6,197.6)))
c_l2_tag_array_wordline_dr.add(gdstk.Reference(l2_tag_array_contact_21, (23.4,197.4)))
c_l2_tag_array_wordline_dr.add(gdstk.Reference(l2_tag_array_contact_17, (23.6,197.6)))
c_l2_tag_array_wordline_dr.add(gdstk.Reference(l2_tag_array_contact_18, (23.6,197.6)))
c_l2_tag_array_wordline_dr.add(gdstk.Reference(l2_tag_array_contact_21, (23.4,197.4)))
c_l2_tag_array_wordline_dr.add(gdstk.Reference(l2_tag_array_contact_17, (3.6,-0.4)))
c_l2_tag_array_wordline_dr.add(gdstk.Reference(l2_tag_array_contact_18, (3.6,-0.4)))
c_l2_tag_array_wordline_dr.add(gdstk.Reference(l2_tag_array_contact_21, (3.4,-0.6)))
c_l2_tag_array_wordline_dr.add(gdstk.Reference(l2_tag_array_contact_17, (3.6,26)))
c_l2_tag_array_wordline_dr.add(gdstk.Reference(l2_tag_array_contact_18, (3.6,26)))
c_l2_tag_array_wordline_dr.add(gdstk.Reference(l2_tag_array_contact_21, (3.4,25.8)))
c_l2_tag_array_wordline_dr.add(gdstk.Reference(l2_tag_array_contact_17, (3.6,26)))
c_l2_tag_array_wordline_dr.add(gdstk.Reference(l2_tag_array_contact_18, (3.6,26)))
c_l2_tag_array_wordline_dr.add(gdstk.Reference(l2_tag_array_contact_21, (3.4,25.8)))
c_l2_tag_array_wordline_dr.add(gdstk.Reference(l2_tag_array_contact_17, (3.6,52.4)))
c_l2_tag_array_wordline_dr.add(gdstk.Reference(l2_tag_array_contact_18, (3.6,52.4)))
c_l2_tag_array_wordline_dr.add(gdstk.Reference(l2_tag_array_contact_21, (3.4,52.2)))
c_l2_tag_array_wordline_dr.add(gdstk.Reference(l2_tag_array_contact_17, (3.6,52.4)))
c_l2_tag_array_wordline_dr.add(gdstk.Reference(l2_tag_array_contact_18, (3.6,52.4)))
c_l2_tag_array_wordline_dr.add(gdstk.Reference(l2_tag_array_contact_21, (3.4,52.2)))
c_l2_tag_array_wordline_dr.add(gdstk.Reference(l2_tag_array_contact_17, (3.6,78.8)))
c_l2_tag_array_wordline_dr.add(gdstk.Reference(l2_tag_array_contact_18, (3.6,78.8)))
c_l2_tag_array_wordline_dr.add(gdstk.Reference(l2_tag_array_contact_21, (3.4,78.6)))
c_l2_tag_array_wordline_dr.add(gdstk.Reference(l2_tag_array_contact_17, (3.6,78.8)))
c_l2_tag_array_wordline_dr.add(gdstk.Reference(l2_tag_array_contact_18, (3.6,78.8)))
c_l2_tag_array_wordline_dr.add(gdstk.Reference(l2_tag_array_contact_21, (3.4,78.6)))
c_l2_tag_array_wordline_dr.add(gdstk.Reference(l2_tag_array_contact_17, (3.6,105.2)))
c_l2_tag_array_wordline_dr.add(gdstk.Reference(l2_tag_array_contact_18, (3.6,105.2)))
c_l2_tag_array_wordline_dr.add(gdstk.Reference(l2_tag_array_contact_21, (3.4,105)))
c_l2_tag_array_wordline_dr.add(gdstk.Reference(l2_tag_array_contact_17, (3.6,105.2)))
c_l2_tag_array_wordline_dr.add(gdstk.Reference(l2_tag_array_contact_18, (3.6,105.2)))
c_l2_tag_array_wordline_dr.add(gdstk.Reference(l2_tag_array_contact_21, (3.4,105)))
c_l2_tag_array_wordline_dr.add(gdstk.Reference(l2_tag_array_contact_17, (3.6,131.6)))
c_l2_tag_array_wordline_dr.add(gdstk.Reference(l2_tag_array_contact_18, (3.6,131.6)))
c_l2_tag_array_wordline_dr.add(gdstk.Reference(l2_tag_array_contact_21, (3.4,131.4)))
c_l2_tag_array_wordline_dr.add(gdstk.Reference(l2_tag_array_contact_17, (3.6,131.6)))
c_l2_tag_array_wordline_dr.add(gdstk.Reference(l2_tag_array_contact_18, (3.6,131.6)))
c_l2_tag_array_wordline_dr.add(gdstk.Reference(l2_tag_array_contact_21, (3.4,131.4)))
c_l2_tag_array_wordline_dr.add(gdstk.Reference(l2_tag_array_contact_17, (3.6,158)))
c_l2_tag_array_wordline_dr.add(gdstk.Reference(l2_tag_array_contact_18, (3.6,158)))
c_l2_tag_array_wordline_dr.add(gdstk.Reference(l2_tag_array_contact_21, (3.4,157.8)))
c_l2_tag_array_wordline_dr.add(gdstk.Reference(l2_tag_array_contact_17, (3.6,158)))
c_l2_tag_array_wordline_dr.add(gdstk.Reference(l2_tag_array_contact_18, (3.6,158)))
c_l2_tag_array_wordline_dr.add(gdstk.Reference(l2_tag_array_contact_21, (3.4,157.8)))
c_l2_tag_array_wordline_dr.add(gdstk.Reference(l2_tag_array_contact_17, (3.6,184.4)))
c_l2_tag_array_wordline_dr.add(gdstk.Reference(l2_tag_array_contact_18, (3.6,184.4)))
c_l2_tag_array_wordline_dr.add(gdstk.Reference(l2_tag_array_contact_21, (3.4,184.2)))
c_l2_tag_array_wordline_dr.add(gdstk.Reference(l2_tag_array_contact_17, (3.6,184.4)))
c_l2_tag_array_wordline_dr.add(gdstk.Reference(l2_tag_array_contact_18, (3.6,184.4)))
c_l2_tag_array_wordline_dr.add(gdstk.Reference(l2_tag_array_contact_21, (3.4,184.2)))
c_l2_tag_array_wordline_dr.add(gdstk.Reference(l2_tag_array_contact_17, (3.6,210.8)))
c_l2_tag_array_wordline_dr.add(gdstk.Reference(l2_tag_array_contact_18, (3.6,210.8)))
c_l2_tag_array_wordline_dr.add(gdstk.Reference(l2_tag_array_contact_21, (3.4,210.6)))
c_l2_tag_array_wordline_dr.add(gdstk.Label('en', (8.6,105.6), layer=51, texttype=0))
c_l2_tag_array_wordline_dr.add(gdstk.Label('in_0', (6.6,3.2), layer=49, texttype=0))
c_l2_tag_array_wordline_dr.add(gdstk.Label('wl_0', (17.9,6.1), layer=49, texttype=0))
c_l2_tag_array_wordline_dr.add(gdstk.Label('in_1', (6.6,23.2), layer=49, texttype=0))
c_l2_tag_array_wordline_dr.add(gdstk.Label('wl_1', (17.9,20.3), layer=49, texttype=0))
c_l2_tag_array_wordline_dr.add(gdstk.Label('in_2', (6.6,29.6), layer=49, texttype=0))
c_l2_tag_array_wordline_dr.add(gdstk.Label('wl_2', (17.9,32.5), layer=49, texttype=0))
c_l2_tag_array_wordline_dr.add(gdstk.Label('in_3', (6.6,49.6), layer=49, texttype=0))
c_l2_tag_array_wordline_dr.add(gdstk.Label('wl_3', (17.9,46.7), layer=49, texttype=0))
c_l2_tag_array_wordline_dr.add(gdstk.Label('in_4', (6.6,56), layer=49, texttype=0))
c_l2_tag_array_wordline_dr.add(gdstk.Label('wl_4', (17.9,58.9), layer=49, texttype=0))
c_l2_tag_array_wordline_dr.add(gdstk.Label('in_5', (6.6,76), layer=49, texttype=0))
c_l2_tag_array_wordline_dr.add(gdstk.Label('wl_5', (17.9,73.1), layer=49, texttype=0))
c_l2_tag_array_wordline_dr.add(gdstk.Label('in_6', (6.6,82.4), layer=49, texttype=0))
c_l2_tag_array_wordline_dr.add(gdstk.Label('wl_6', (17.9,85.3), layer=49, texttype=0))
c_l2_tag_array_wordline_dr.add(gdstk.Label('in_7', (6.6,102.4), layer=49, texttype=0))
c_l2_tag_array_wordline_dr.add(gdstk.Label('wl_7', (17.9,99.5), layer=49, texttype=0))
c_l2_tag_array_wordline_dr.add(gdstk.Label('in_8', (6.6,108.8), layer=49, texttype=0))
c_l2_tag_array_wordline_dr.add(gdstk.Label('wl_8', (17.9,111.7), layer=49, texttype=0))
c_l2_tag_array_wordline_dr.add(gdstk.Label('in_9', (6.6,128.8), layer=49, texttype=0))
c_l2_tag_array_wordline_dr.add(gdstk.Label('wl_9', (17.9,125.9), layer=49, texttype=0))
c_l2_tag_array_wordline_dr.add(gdstk.Label('in_10', (6.6,135.2), layer=49, texttype=0))
c_l2_tag_array_wordline_dr.add(gdstk.Label('wl_10', (17.9,138.1), layer=49, texttype=0))
c_l2_tag_array_wordline_dr.add(gdstk.Label('in_11', (6.6,155.2), layer=49, texttype=0))
c_l2_tag_array_wordline_dr.add(gdstk.Label('wl_11', (17.9,152.3), layer=49, texttype=0))
c_l2_tag_array_wordline_dr.add(gdstk.Label('in_12', (6.6,161.6), layer=49, texttype=0))
c_l2_tag_array_wordline_dr.add(gdstk.Label('wl_12', (17.9,164.5), layer=49, texttype=0))
c_l2_tag_array_wordline_dr.add(gdstk.Label('in_13', (6.6,181.6), layer=49, texttype=0))
c_l2_tag_array_wordline_dr.add(gdstk.Label('wl_13', (17.9,178.7), layer=49, texttype=0))
c_l2_tag_array_wordline_dr.add(gdstk.Label('in_14', (6.6,188), layer=49, texttype=0))
c_l2_tag_array_wordline_dr.add(gdstk.Label('wl_14', (17.9,190.9), layer=49, texttype=0))
c_l2_tag_array_wordline_dr.add(gdstk.Label('in_15', (6.6,208), layer=49, texttype=0))
c_l2_tag_array_wordline_dr.add(gdstk.Label('wl_15', (17.9,205.1), layer=49, texttype=0))
c_l2_tag_array_wordline_dr.add(gdstk.Label('vdd', (24,105.6), layer=31, texttype=0))
c_l2_tag_array_wordline_dr.add(gdstk.Label('gnd', (4,105.6), layer=31, texttype=0))

lib.write_gds('l2_tag_array_wordline_driver_array.gds')
